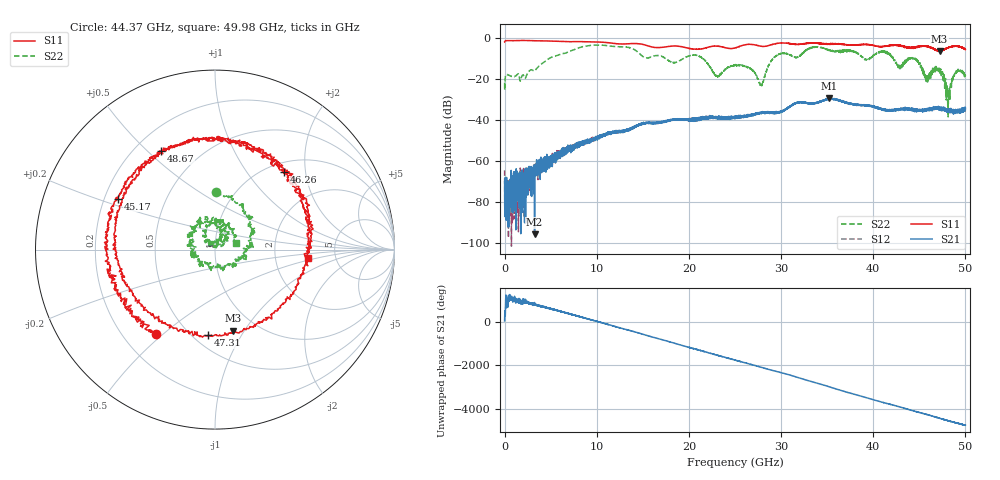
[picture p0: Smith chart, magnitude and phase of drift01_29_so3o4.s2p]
!Created with skrf (http://scikit-rf.org).
# Hz S RI R 50.0
!freq ReS11 ImS11 ReS21 ImS21 ReS12 ImS12 ReS22 ImS22
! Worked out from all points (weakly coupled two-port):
!   10001 points, 300 kHz to 50 GHz, reference 50 ohm
!   highest |S21| = -29.64 dB at 35.22 GHz (marker M1); lowest = -95.9 dB at 3.25 GHz (marker M2)
!   lowest |S11| = -6.7 dB at 47.2 GHz (marker M3), VSWR 2.72, Z = 38.8 - j44.6 ohm
!   |S11| at or under -10 dB: nowhere
!   |S22| runs from -38.6 to -3.6 dB; largest |S21 - S12| = 0.0053
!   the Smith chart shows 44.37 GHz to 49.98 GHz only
!   S11 on the Smith chart (normalised r, x): 44.37 GHz: 0.34, -0.47; 45.17 GHz: 0.25, +0.23; 46.26 GHz: 1.19, +1.53; 47.31 GHz: 0.59, -0.73; 48.67 GHz: 0.31, +0.55; 49.98 GHz: 3.10, -0.41
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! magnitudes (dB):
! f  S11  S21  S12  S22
! 300 kHz  -2.1  -70.3  -64.6  -21.9
! 265.3 MHz  -1.4  -74.9  -77.3  -18.0
! 3.25 GHz  -1.5  -95.9  -64.0  -16.2
! 8.335 GHz  -1.9  -51.6  -51.1  -4.6
! 16.67 GHz  -4.8  -41.4  -41.6  -8.7
! 20.96 GHz  -5.6  -39.6  -39.5  -8.7
! 23.07 GHz  -4.1  -38.8  -39.2  -18.7
! 25 GHz  -5.0  -38.8  -38.7  -13.6
! 27.84 GHz  -4.2  -36.5  -36.7  -23.0
! 29.47 GHz  -2.9  -36.7  -36.5  -8.8
! 33.34 GHz  -2.6  -32.2  -32.0  -4.7
! 35.22 GHz  -3.3  -29.6  -29.9  -6.0
! 41.67 GHz  -3.9  -35.6  -35.4  -7.5
! 44.37 GHz  -4.8  -35.0  -35.4  -9.8
! 45.17 GHz  -4.3  -35.3  -35.7  -13.9
! 46.26 GHz  -4.7  -35.4  -34.8  -17.2
! 47.2 GHz  -6.7  -34.6  -34.2  -15.8
! 47.31 GHz  -6.4  -34.0  -34.5  -15.6
! 48.12 GHz  -4.9  -35.5  -35.5  -33.0
! 48.67 GHz  -4.1  -35.8  -36.0  -19.8
! 49.98 GHz  -5.7  -33.9  -34.6  -18.4
! 50 GHz  -5.7  -34.7  -34.5  -18.3
